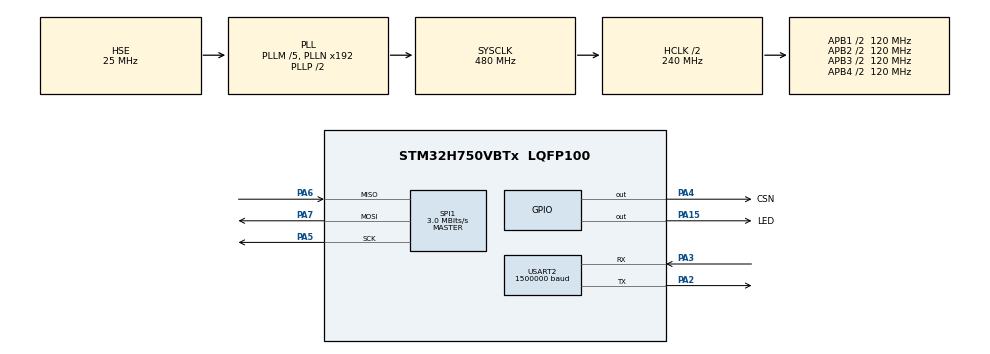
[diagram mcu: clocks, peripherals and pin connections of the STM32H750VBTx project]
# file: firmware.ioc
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CORTEX_M7.CPU_ICache=Disabled
Mcu.Family=STM32H7
Mcu.Name=STM32H750VBTx
Mcu.Package=LQFP100
NVIC.PriorityGroup=NVIC_PRIORITYGROUP_4
NVIC.TIM4_IRQn=true\:0\:0\:false\:false\:true\:true\:true\:true
NVIC.USART2_IRQn=true\:0\:0\:false\:false\:true\:true\:true\:true
PA13\ (JTMS/SWDIO).Mode=Serial_Wire
PA13\ (JTMS/SWDIO).Signal=DEBUG_JTMS-SWDIO
PA14\ (JTCK/SWCLK).Mode=Serial_Wire
PA14\ (JTCK/SWCLK).Signal=DEBUG_JTCK-SWCLK
PA15\ (JTDI).GPIO_Label=LED
PA15\ (JTDI).GPIO_Speed=GPIO_SPEED_FREQ_MEDIUM
PA15\ (JTDI).Signal=GPIO_Output
PA2.Mode=Asynchronous
PA2.Signal=USART2_TX
PA3.Mode=Asynchronous
PA3.Signal=USART2_RX
PA4.GPIO_Label=CSN
PA4.GPIO_Speed=GPIO_SPEED_FREQ_MEDIUM
PA4.PinState=GPIO_PIN_SET
PA4.Signal=GPIO_Output
PA5.GPIO_Speed=GPIO_SPEED_FREQ_MEDIUM
PA5.Mode=Full_Duplex_Master
PA5.Signal=SPI1_SCK
PA6.GPIO_Speed=GPIO_SPEED_FREQ_MEDIUM
PA6.Mode=Full_Duplex_Master
PA6.Signal=SPI1_MISO
PA7.GPIO_Speed=GPIO_SPEED_FREQ_MEDIUM
PA7.Mode=Full_Duplex_Master
PA7.Signal=SPI1_MOSI
PC14-OSC32_IN\ (OSC32_IN).Mode=LSE-External-Oscillator
PC14-OSC32_IN\ (OSC32_IN).Signal=RCC_OSC32_IN
PC15-OSC32_OUT\ (OSC32_OUT).Mode=LSE-External-Oscillator
PC15-OSC32_OUT\ (OSC32_OUT).Signal=RCC_OSC32_OUT
PH0-OSC_IN\ (PH0).Mode=HSE-External-Oscillator
PH0-OSC_IN\ (PH0).Signal=RCC_OSC_IN
PH1-OSC_OUT\ (PH1).Mode=HSE-External-Oscillator
PH1-OSC_OUT\ (PH1).Signal=RCC_OSC_OUT
ProjectManager.HeapSize=0x200
ProjectManager.StackSize=0x400
ProjectManager.TargetToolchain=MDK-ARM V5.32
RCC.ADCFreq_Value=50390625
RCC.APB1Freq_Value=120000000
RCC.APB2Freq_Value=120000000
RCC.APB3Freq_Value=120000000
RCC.APB4Freq_Value=120000000
RCC.CortexFreq_Value=480000000
RCC.D1PPRE=RCC_APB3_DIV2
RCC.D2PPRE1=RCC_APB1_DIV2
RCC.D2PPRE2=RCC_APB2_DIV2
RCC.D3PPRE=RCC_APB4_DIV2
RCC.DIVM1=5
RCC.DIVM3=2
RCC.DIVN1=192
RCC.DIVN3=12
RCC.DIVQ1=5
RCC.DIVQ3=3
RCC.HCLKFreq_Value=240000000
RCC.HPRE=RCC_HCLK_DIV2
RCC.PLL2FRACN=0
RCC.PLL3FRACN=0
RCC.PLLFRACN=0
RCC.PLLSourceVirtual=RCC_PLLSOURCE_HSE
RCC.PWR_Regulator_Voltage_Scale=PWR_REGULATOR_VOLTAGE_SCALE0
RCC.ProductRev=revV
RCC.SYSCLKFreq_VALUE=480000000
RCC.SYSCLKSource=RCC_SYSCLKSOURCE_PLLCLK
RCC.USBCLockSelection=RCC_USBCLKSOURCE_HSI48
RCC.USBFreq_Value=48000000
SPI1.BaudRatePrescaler=SPI_BAUDRATEPRESCALER_64
SPI1.CLKPhase=SPI_PHASE_2EDGE
SPI1.CLKPolarity=SPI_POLARITY_LOW
SPI1.CalculateBaudRate=3.0 MBits/s
SPI1.DataSize=SPI_DATASIZE_8BIT
SPI1.Direction=SPI_DIRECTION_2LINES
SPI1.Mode=SPI_MODE_MASTER
SPI1.VirtualType=VM_MASTER
TIM4.AutoReloadPreload=TIM_AUTORELOAD_PRELOAD_ENABLE
TIM4.Period=65535
TIM4.Prescaler=239
USART2.BaudRate=1500000
USART2.VirtualMode-Asynchronous=VM_ASYNC
VP_TIM4_VS_ClockSourceINT.Mode=Internal
board=custom

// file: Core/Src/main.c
/* USER CODE BEGIN Header */
/**
  ******************************************************************************
  * @file           : main.c
  * @brief          : Main program body
  ******************************************************************************
  * @attention
  *
  * Copyright (c) 2023 STMicroelectronics.
  * All rights reserved.
  *
  * This software is licensed under terms that can be found in the LICENSE file
  * in the root directory of this software component.
  * If no LICENSE file comes with this software, it is provided AS-IS.
  *
  ******************************************************************************
  */
/* USER CODE END Header */
#include "main.h"
#include "spi.h"
#include "tim.h"
#include "usart.h"
#include "gpio.h"

/* USER CODE BEGIN Includes */
#include "stdio.h"
#include "LHA7928.h"
/* USER CODE END Includes */

/* USER CODE BEGIN PV */
volatile uint8_t falg_data_ready = 0;
uint32_t data_mem[2048];
/* USER CODE END PV */

void SystemClock_Config(void);

/* USER CODE BEGIN 0 */

int fputc(int ch, FILE *f)
{
    HAL_UART_Transmit(&huart2, (uint8_t *)&ch, 1, 2);
    return ch;
}

void delay_us(uint16_t us)
{
  __HAL_TIM_SET_COUNTER(&htim4, 0);
  HAL_TIM_Base_Start(&htim4);
  while (__HAL_TIM_GET_COUNTER(&htim4) < us);
  HAL_TIM_Base_Stop(&htim4);
}

void delay_ms(uint16_t ms)
{
  for (uint16_t i = 0; i < ms; i++)
  {
    delay_us(1000);
  }
}

/* USER CODE END 0 */

int main(void)
{
  /* USER CODE BEGIN 1 */
	uint32_t adc_data;
	uint16_t ts_data;
	float volt_mv,temp_C;
	uint16_t data_cnt = 0;
  /* USER CODE END 1 */

  /* MCU Configuration--------------------------------------------------------*/

  /* Reset of all peripherals, Initializes the Flash interface and the Systick. */
  HAL_Init();

  /* Configure the system clock */
  SystemClock_Config();

  /* Initialize all configured peripherals */
  MX_GPIO_Init();
  MX_SPI1_Init();
  MX_TIM4_Init();
  MX_USART2_UART_Init();
  /* USER CODE BEGIN 2 */
	printf("firmware start\r\n");

//	while(1)
//	{
//		LED_HIGH;
//		delay_ms(1000);
//		LED_LOW;
//		delay_ms(1000);
//	}

  /* Initialize device */
  lha7928_Init();				// Set base configuration for LHA7928 device
//	lha7928_TS_Init();    // Set base configuration for LHA7928 Temp Sensor device

  /* USER CODE END 2 */

  /* Infinite loop */
  while (1)
  {

    /* USER CODE BEGIN 3 */
			delay_ms(10);
			/* get the data from the ADC */
			adc_data = lha7928_ReadData();
			volt_mv = lha7928_Code2Volt_mV(adc_data,CFG_PGA_2_048V);
			printf("0x%x, %f\r\n",adc_data,volt_mv);

//			/* get the data from the Temp Sensor */
//			ts_data = TS_ReadData();
//			temp_C = TS_Code2Temp_C(ts_data);
//			printf("0x%x, %f\r\n",ts_data,temp_C);
  }
  /* USER CODE END 3 */
}

void SystemClock_Config(void)
{
  RCC_OscInitTypeDef RCC_OscInitStruct = {0};
  RCC_ClkInitTypeDef RCC_ClkInitStruct = {0};

  /** Supply configuration update enable
  */
  HAL_PWREx_ConfigSupply(PWR_LDO_SUPPLY);

  /** Configure the main internal regulator output voltage
  */
  __HAL_PWR_VOLTAGESCALING_CONFIG(PWR_REGULATOR_VOLTAGE_SCALE1);

  while(!__HAL_PWR_GET_FLAG(PWR_FLAG_VOSRDY)) {}

  __HAL_RCC_SYSCFG_CLK_ENABLE();
  __HAL_PWR_VOLTAGESCALING_CONFIG(PWR_REGULATOR_VOLTAGE_SCALE0);

  while(!__HAL_PWR_GET_FLAG(PWR_FLAG_VOSRDY)) {}

  /** Initializes the RCC Oscillators according to the specified parameters
  * in the RCC_OscInitTypeDef structure.
  */
  RCC_OscInitStruct.OscillatorType = RCC_OSCILLATORTYPE_HSE;
  RCC_OscInitStruct.HSEState = RCC_HSE_ON;
  RCC_OscInitStruct.PLL.PLLState = RCC_PLL_ON;
  RCC_OscInitStruct.PLL.PLLSource = RCC_PLLSOURCE_HSE;
  RCC_OscInitStruct.PLL.PLLM = 5;
  RCC_OscInitStruct.PLL.PLLN = 192;
  RCC_OscInitStruct.PLL.PLLP = 2;
  RCC_OscInitStruct.PLL.PLLQ = 5;
  RCC_OscInitStruct.PLL.PLLR = 2;
  RCC_OscInitStruct.PLL.PLLRGE = RCC_PLL1VCIRANGE_2;
  RCC_OscInitStruct.PLL.PLLVCOSEL = RCC_PLL1VCOWIDE;
  RCC_OscInitStruct.PLL.PLLFRACN = 0;
  if (HAL_RCC_OscConfig(&RCC_OscInitStruct) != HAL_OK)
  {
    Error_Handler();
  }

  /** Initializes the CPU, AHB and APB buses clocks
  */
  RCC_ClkInitStruct.ClockType = RCC_CLOCKTYPE_HCLK|RCC_CLOCKTYPE_SYSCLK
                              |RCC_CLOCKTYPE_PCLK1|RCC_CLOCKTYPE_PCLK2
                              |RCC_CLOCKTYPE_D3PCLK1|RCC_CLOCKTYPE_D1PCLK1;
  RCC_ClkInitStruct.SYSCLKSource = RCC_SYSCLKSOURCE_PLLCLK;
  RCC_ClkInitStruct.SYSCLKDivider = RCC_SYSCLK_DIV1;
  RCC_ClkInitStruct.AHBCLKDivider = RCC_HCLK_DIV2;
  RCC_ClkInitStruct.APB3CLKDivider = RCC_APB3_DIV2;
  RCC_ClkInitStruct.APB1CLKDivider = RCC_APB1_DIV2;
  RCC_ClkInitStruct.APB2CLKDivider = RCC_APB2_DIV2;
  RCC_ClkInitStruct.APB4CLKDivider = RCC_APB4_DIV2;

  if (HAL_RCC_ClockConfig(&RCC_ClkInitStruct, FLASH_LATENCY_4) != HAL_OK)
  {
    Error_Handler();
  }
}

void Error_Handler(void)
{
  __disable_irq();
  while (1)
  {
  }
}
